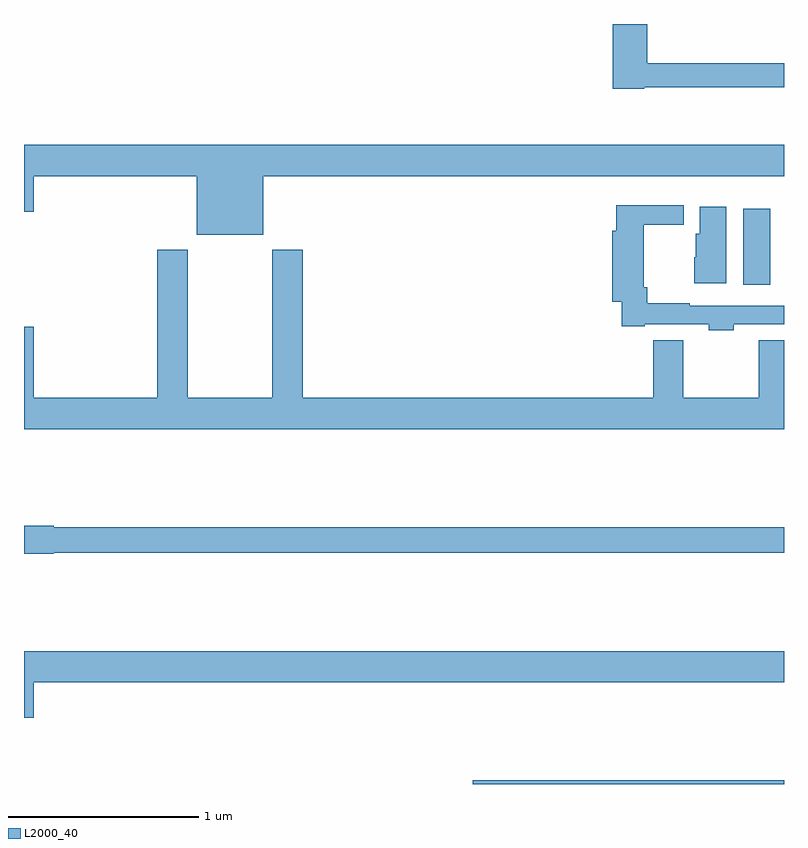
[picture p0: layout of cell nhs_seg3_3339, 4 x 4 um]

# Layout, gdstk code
import gdstk
lib = gdstk.Library(unit=1e-6, precision=1e-09)
def R(c, l, rs):  # rectangles x0, y0, x1, y1
    for r in rs: c.add(gdstk.rectangle(r[:2], r[2:], *l))
def P(c, l, *ps):  # polygons
    for p in ps: c.add(gdstk.Polygon(p, *l))
L2000_40 = (2000, 40)

nhs_seg3_3339 = lib.new_cell('nhs_seg3_3339')
R(nhs_seg3_3339, L2000_40, [(287.363,680.4,289,680.42), (288.785,683.028,288.928,683.428)])
P(nhs_seg3_3339, L2000_40, [(288.264,684.066),(289,684.066),(289,684.194),(288.281,684.194),(288.281,684.4),(288.098,684.4),(288.098,684.058),(288.264,684.058)],
  [(286.258,683.6),(289,683.6),(289,683.764),(285,683.764),(285,683.412),(285.052,683.412),(285.052,683.6),(285.908,683.6),(285.908,683.291),(286.258,683.291)],
  [(288.735,682.821),(289,682.821),(289,682.917),(288.503,682.917),(288.503,682.93),(288.281,682.93),(288.281,683.014),(288.262,683.014),(288.262,683.344),(288.472,683.344),(288.472,683.446),(288.116,683.446),(288.116,683.313),(288.095,683.313),(288.095,682.937),(288.145,682.937),(288.145,682.809),(288.268,682.809),(288.268,682.821),(288.603,682.821),(288.603,682.789),(288.735,682.789)],
  [(288.697,683.437),(288.557,683.437),(288.557,683.295),(288.536,683.295),(288.536,683.172),(288.527,683.172),(288.527,683.036),(288.697,683.036)],
  [(289,682.736),(288.868,682.736),(288.868,682.432),(288.47,682.432),(288.47,682.736),(288.311,682.736),(288.311,682.432),(286.466,682.432),(286.466,683.212),(286.306,683.212),(286.306,682.432),(285.861,682.432),(285.861,683.212),(285.701,683.212),(285.701,682.432),(285.052,682.432),(285.052,682.807),(285,682.807),(285,682.268),(289,682.268)],
  [(285.156,681.616),(289,681.616),(289,681.752),(285.156,681.752),(285.156,681.758),(285,681.758),(285,681.611),(285.156,681.611)],
  [(285.052,680.936),(289,680.936),(289,681.1),(285,681.1),(285,680.748),(285.052,680.748)])

lib.write_gds('nhs_seg3_3339.gds')
